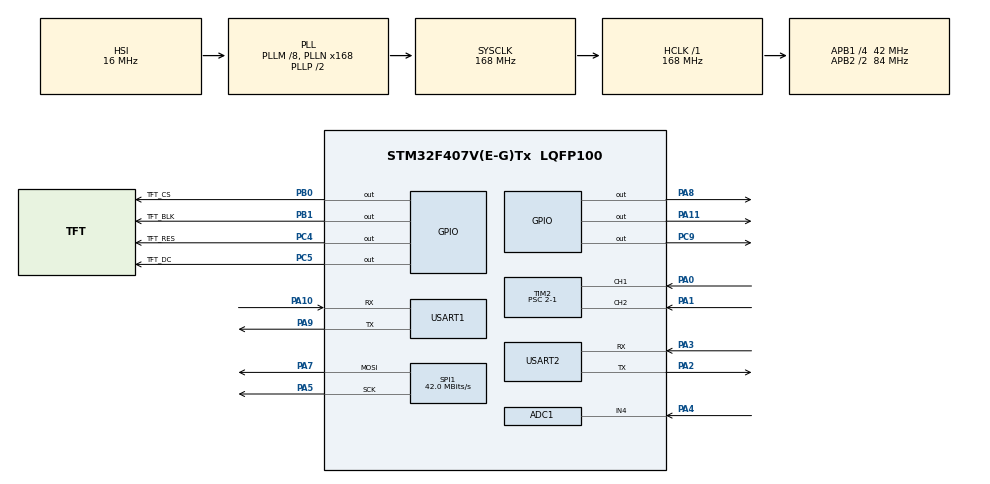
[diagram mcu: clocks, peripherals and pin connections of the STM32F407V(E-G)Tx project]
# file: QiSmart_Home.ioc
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ADC1.Channel-0\#ChannelRegularConversion=ADC_CHANNEL_4
ADC1.ContinuousConvMode=ENABLE
ADC1.DMAContinuousRequests=ENABLE
ADC1.EOCSelection=ADC_EOC_SEQ_CONV
ADC1.NbrOfConversionFlag=1
ADC1.Rank-0\#ChannelRegularConversion=1
ADC1.SamplingTime-0\#ChannelRegularConversion=ADC_SAMPLETIME_144CYCLES
ADC1.master=1
Dma.ADC1.0.Direction=DMA_PERIPH_TO_MEMORY
Dma.ADC1.0.FIFOMode=DMA_FIFOMODE_DISABLE
Dma.ADC1.0.Instance=DMA2_Stream0
Dma.ADC1.0.MemDataAlignment=DMA_MDATAALIGN_HALFWORD
Dma.ADC1.0.MemInc=DMA_MINC_ENABLE
Dma.ADC1.0.Mode=DMA_CIRCULAR
Dma.ADC1.0.PeriphDataAlignment=DMA_PDATAALIGN_HALFWORD
Dma.ADC1.0.PeriphInc=DMA_PINC_DISABLE
Dma.ADC1.0.Priority=DMA_PRIORITY_LOW
Dma.Request0=ADC1
FREERTOS.Tasks01=defaultTask,24,128,StartDefaultTask,Default,NULL,Dynamic,NULL,NULL
Mcu.Family=STM32F4
Mcu.Name=STM32F407V(E-G)Tx
Mcu.Package=LQFP100
NVIC.DMA2_Stream0_IRQn=true\:5\:0\:false\:false\:true\:true\:false\:true\:true
NVIC.PriorityGroup=NVIC_PRIORITYGROUP_4
NVIC.TIM1_UP_TIM10_IRQn=true\:15\:0\:false\:false\:true\:false\:false\:true\:true
NVIC.TimeBase=TIM1_UP_TIM10_IRQn
NVIC.TimeBaseIP=TIM1
NVIC.USART2_IRQn=true\:5\:0\:false\:false\:true\:true\:true\:true\:true
PA0-WKUP.Signal=S_TIM2_CH1_ETR
PA1.Signal=S_TIM2_CH2
PA10.Mode=Asynchronous
PA10.Signal=USART1_RX
PA11.Signal=GPIO_Output
PA13.Mode=Serial_Wire
PA13.Signal=SYS_JTMS-SWDIO
PA14.Mode=Serial_Wire
PA14.Signal=SYS_JTCK-SWCLK
PA2.Mode=Asynchronous
PA2.Signal=USART2_TX
PA3.Mode=Asynchronous
PA3.Signal=USART2_RX
PA4.Signal=ADCx_IN4
PA5.Mode=TX_Only_Simplex_Unidirect_Master
PA5.Signal=SPI1_SCK
PA7.Mode=TX_Only_Simplex_Unidirect_Master
PA7.Signal=SPI1_MOSI
PA8.Signal=GPIO_Output
PA9.Mode=Asynchronous
PA9.Signal=USART1_TX
PB0.GPIO_Label=TFT_CS
PB0.Signal=GPIO_Output
PB1.GPIO_Label=TFT_BLK
PB1.Signal=GPIO_Output
PC4.GPIO_Label=TFT_RES
PC4.Signal=GPIO_Output
PC5.GPIO_Label=TFT_DC
PC5.Signal=GPIO_Output
PC9.Signal=GPIO_Output
PH0-OSC_IN.Mode=HSE-External-Oscillator
PH0-OSC_IN.Signal=RCC_OSC_IN
PH1-OSC_OUT.Mode=HSE-External-Oscillator
PH1-OSC_OUT.Signal=RCC_OSC_OUT
ProjectManager.HeapSize=0x200
ProjectManager.StackSize=0x400
ProjectManager.TargetToolchain=MDK-ARM V5.32
RCC.48MHZClocksFreq_Value=84000000
RCC.AHBFreq_Value=168000000
RCC.APB1CLKDivider=RCC_HCLK_DIV4
RCC.APB1Freq_Value=42000000
RCC.APB1TimFreq_Value=84000000
RCC.APB2CLKDivider=RCC_HCLK_DIV2
RCC.APB2Freq_Value=84000000
RCC.APB2TimFreq_Value=168000000
RCC.CortexFreq_Value=168000000
RCC.HCLKFreq_Value=168000000
RCC.HSE_VALUE=25000000
RCC.HSI_VALUE=16000000
RCC.LSE_VALUE=32768
RCC.PLLM=8
RCC.PLLN=168
RCC.SYSCLKFreq_VALUE=168000000
RCC.SYSCLKSource=RCC_SYSCLKSOURCE_PLLCLK
RCC.VCOOutputFreq_Value=336000000
SH.ADCx_IN4.0=ADC1_IN4,IN4
SH.S_TIM2_CH1_ETR.0=TIM2_CH1,Encoder_Interface
SH.S_TIM2_CH2.0=TIM2_CH2,Encoder_Interface
SPI1.CalculateBaudRate=42.0 MBits/s
SPI1.Direction=SPI_DIRECTION_2LINES
SPI1.Mode=SPI_MODE_MASTER
SPI1.VirtualType=VM_MASTER
TIM2.IC1Filter=15
TIM2.IC2Filter=15
TIM2.Period=65535
TIM2.Prescaler=2-1
USART1.VirtualMode=VM_ASYNC
USART2.VirtualMode=VM_ASYNC
VP_FREERTOS_VS_CMSIS_V2.Mode=CMSIS_V2
VP_SYS_VS_tim1.Mode=TIM1
board=custom

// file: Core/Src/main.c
/* USER CODE BEGIN Header */
/**
  ******************************************************************************
  * @file           : main.c
  * @brief          : Main program body
  ******************************************************************************
  * @attention
  *
  * Copyright (c) 2025 STMicroelectronics.
  * All rights reserved.
  *
  * This software is licensed under terms that can be found in the LICENSE file
  * in the root directory of this software component.
  * If no LICENSE file comes with this software, it is provided AS-IS.
  *
  ******************************************************************************
  */
/* USER CODE END Header */
#include "main.h"
#include "cmsis_os.h"
#include "adc.h"
#include "dma.h"
#include "spi.h"
#include "tim.h"
#include "usart.h"
#include "gpio.h"

/* USER CODE BEGIN Includes */
#include "bsp_log.h"
#include "sys_delay.h"
#include "encoder_task.h"
#include "sensor_task.h"
#include "dht11_task.h"
#include "relay_task.h"
#include "mqtt_task.h"
/* USER CODE END Includes */

void SystemClock_Config(void);
void MX_FREERTOS_Init(void);

int main(void)
{

  /* MCU Configuration--------------------------------------------------------*/

  /* Reset of all peripherals, Initializes the Flash interface and the Systick. */
  HAL_Init();

  /* Configure the system clock */
  SystemClock_Config();

  /* Initialize all configured peripherals */
  MX_GPIO_Init();
  MX_DMA_Init();
  MX_USART1_UART_Init();
  MX_SPI1_Init();
  MX_TIM2_Init();
  MX_ADC1_Init();
  MX_USART2_UART_Init();
  /* USER CODE BEGIN 2 */
  DWT_Init();
  Log_TaskCreate(&huart1);
//  Encoder_TaskCreate(&htim2);
//  Sensor_TaskCreate(&hadc1);
  DHT11_TaskCreate();
	Relay_TaskCreate();
  MQTT_TaskCreate();
  /* USER CODE END 2 */

  /* Init scheduler */
  osKernelInitialize();  /* Call init function for freertos objects (in cmsis_os2.c) */
  MX_FREERTOS_Init();

  /* Start scheduler */
  osKernelStart();

  /* We should never get here as control is now taken by the scheduler */

  /* Infinite loop */
  while (1)
  {

  }
}

void SystemClock_Config(void)
{
  RCC_OscInitTypeDef RCC_OscInitStruct = {0};
  RCC_ClkInitTypeDef RCC_ClkInitStruct = {0};

  /** Configure the main internal regulator output voltage
  */
  __HAL_RCC_PWR_CLK_ENABLE();
  __HAL_PWR_VOLTAGESCALING_CONFIG(PWR_REGULATOR_VOLTAGE_SCALE1);

  /** Initializes the RCC Oscillators according to the specified parameters
  * in the RCC_OscInitTypeDef structure.
  */
  RCC_OscInitStruct.OscillatorType = RCC_OSCILLATORTYPE_HSI;
  RCC_OscInitStruct.HSIState = RCC_HSI_ON;
  RCC_OscInitStruct.HSICalibrationValue = RCC_HSICALIBRATION_DEFAULT;
  RCC_OscInitStruct.PLL.PLLState = RCC_PLL_ON;
  RCC_OscInitStruct.PLL.PLLSource = RCC_PLLSOURCE_HSI;
  RCC_OscInitStruct.PLL.PLLM = 8;
  RCC_OscInitStruct.PLL.PLLN = 168;
  RCC_OscInitStruct.PLL.PLLP = RCC_PLLP_DIV2;
  RCC_OscInitStruct.PLL.PLLQ = 4;
  if (HAL_RCC_OscConfig(&RCC_OscInitStruct) != HAL_OK)
  {
    Error_Handler();
  }

  /** Initializes the CPU, AHB and APB buses clocks
  */
  RCC_ClkInitStruct.ClockType = RCC_CLOCKTYPE_HCLK|RCC_CLOCKTYPE_SYSCLK
                              |RCC_CLOCKTYPE_PCLK1|RCC_CLOCKTYPE_PCLK2;
  RCC_ClkInitStruct.SYSCLKSource = RCC_SYSCLKSOURCE_PLLCLK;
  RCC_ClkInitStruct.AHBCLKDivider = RCC_SYSCLK_DIV1;
  RCC_ClkInitStruct.APB1CLKDivider = RCC_HCLK_DIV4;
  RCC_ClkInitStruct.APB2CLKDivider = RCC_HCLK_DIV2;

  if (HAL_RCC_ClockConfig(&RCC_ClkInitStruct, FLASH_LATENCY_5) != HAL_OK)
  {
    Error_Handler();
  }
}

void HAL_TIM_PeriodElapsedCallback(TIM_HandleTypeDef *htim)
{
  if (htim->Instance == TIM1)
  {
    HAL_IncTick();
  }
}

void Error_Handler(void)
{
  __disable_irq();
  while (1)
  {
  }
}

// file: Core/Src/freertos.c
/* USER CODE BEGIN Header */
/**
  ******************************************************************************
  * File Name          : freertos.c
  * Description        : Code for freertos applications
  ******************************************************************************
  * @attention
  *
  * Copyright (c) 2025 STMicroelectronics.
  * All rights reserved.
  *
  * This software is licensed under terms that can be found in the LICENSE file
  * in the root directory of this software component.
  * If no LICENSE file comes with this software, it is provided AS-IS.
  *
  ******************************************************************************
  */
/* USER CODE END Header */

#include "FreeRTOS.h"
#include "task.h"
#include "main.h"
#include "cmsis_os.h"

/* USER CODE BEGIN Includes */
#include "bsp_log.h"
#include "encoder_task.h"
#include "sensor_task.h"
#include "relay_task.h"
#include "bsp_esp8266.h"
#include "mqtt_task.h"
/* USER CODE END Includes */

/* USER CODE BEGIN Variables */

extern QueueHandle_t RelayQueue;
/* USER CODE END Variables */
/* Definitions for defaultTask */
osThreadId_t defaultTaskHandle;
const osThreadAttr_t defaultTask_attributes = {
  .name = "defaultTask",
  .stack_size = 128,
  .priority = (osPriority_t) osPriorityNormal,
};

void StartDefaultTask(void *argument);

void MX_FREERTOS_Init(void); /* (MISRA C 2004 rule 8.1) */

void MX_FREERTOS_Init(void) {
  /* USER CODE BEGIN Init */

  ESP_InitStreamBuffer();

  /* USER CODE END Init */

  /* Create the thread(s) */
  /* creation of defaultTask */
  defaultTaskHandle = osThreadNew(StartDefaultTask, NULL, &defaultTask_attributes);

}

void StartDefaultTask(void *argument)
{
  /* USER CODE BEGIN StartDefaultTask */

	uint8_t temp = 0;
  /* Infinite loop */
  for(;;)
  {

    vTaskDelay(pdMS_TO_TICKS(2000)); // 原本的间隔
  }
  /* USER CODE END StartDefaultTask */
}
